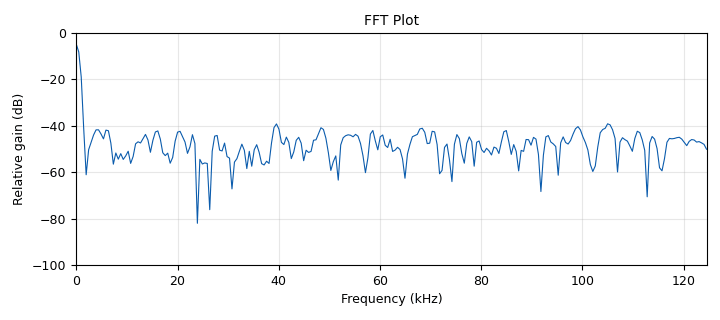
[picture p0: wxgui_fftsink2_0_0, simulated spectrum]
<?xml version='1.0' encoding='utf-8'?>
<?grc format='1' created='3.7.5'?>
<flow_graph>
<block>
<key>options</key>
<param><key>id</key><value>top_block</value></param>
<param><key>generate_options</key><value>wx_gui</value></param>
<param><key>category</key><value>Custom</value></param>
</block>
<block>
<key>variable</key>
<param><key>id</key><value>samp_rate</value></param>
<param><key>value</key><value>250e3</value></param>
</block>
<block>
<key>notebook</key>
<param><key>id</key><value>nb0</value></param>
<param><key>style</key><value>wx.NB_TOP</value></param>
<param><key>labels</key><value>['dcblock_ff processed','fastdcblock_ff processed', 'original']</value></param>
</block>
<block>
<key>wxgui_fftsink2</key>
<param><key>id</key><value>wxgui_fftsink2_0_0</value></param>
<param><key>type</key><value>float</value></param>
<param><key>title</key><value>FFT Plot</value></param>
<param><key>samp_rate</key><value>samp_rate</value></param>
<param><key>baseband_freq</key><value>0</value></param>
<param><key>y_per_div</key><value>10</value></param>
<param><key>y_divs</key><value>10</value></param>
<param><key>ref_level</key><value>0</value></param>
<param><key>ref_scale</key><value>2.0</value></param>
<param><key>fft_size</key><value>512</value></param>
<param><key>fft_rate</key><value>15</value></param>
<param><key>peak_hold</key><value>False</value></param>
<param><key>average</key><value>False</value></param>
<param><key>avg_alpha</key><value>0</value></param>
<param><key>win</key><value>None</value></param>
<param><key>notebook</key><value>nb0,2</value></param>
<param><key>freqvar</key><value>None</value></param>
</block>
<block>
<key>wxgui_fftsink2</key>
<param><key>id</key><value>wxgui_fftsink2_0</value></param>
<param><key>type</key><value>float</value></param>
<param><key>title</key><value>FFT Plot</value></param>
<param><key>samp_rate</key><value>samp_rate</value></param>
<param><key>baseband_freq</key><value>0</value></param>
<param><key>y_per_div</key><value>10</value></param>
<param><key>y_divs</key><value>10</value></param>
<param><key>ref_level</key><value>0</value></param>
<param><key>ref_scale</key><value>2.0</value></param>
<param><key>fft_size</key><value>512</value></param>
<param><key>fft_rate</key><value>15</value></param>
<param><key>peak_hold</key><value>False</value></param>
<param><key>average</key><value>False</value></param>
<param><key>avg_alpha</key><value>0</value></param>
<param><key>win</key><value>None</value></param>
<param><key>notebook</key><value>nb0,0</value></param>
<param><key>freqvar</key><value>None</value></param>
</block>
<block>
<key>wxgui_fftsink2</key>
<param><key>id</key><value>wxgui_fftsink2_0_1</value></param>
<param><key>type</key><value>float</value></param>
<param><key>title</key><value>FFT Plot</value></param>
<param><key>samp_rate</key><value>samp_rate</value></param>
<param><key>baseband_freq</key><value>0</value></param>
<param><key>y_per_div</key><value>10</value></param>
<param><key>y_divs</key><value>10</value></param>
<param><key>ref_level</key><value>0</value></param>
<param><key>ref_scale</key><value>2.0</value></param>
<param><key>fft_size</key><value>512</value></param>
<param><key>fft_rate</key><value>15</value></param>
<param><key>peak_hold</key><value>False</value></param>
<param><key>average</key><value>False</value></param>
<param><key>avg_alpha</key><value>0</value></param>
<param><key>win</key><value>None</value></param>
<param><key>notebook</key><value>nb0,1</value></param>
<param><key>freqvar</key><value>None</value></param>
</block>
<block>
<key>blocks_throttle</key>
<param><key>id</key><value>blocks_throttle_0</value></param>
<param><key>type</key><value>float</value></param>
<param><key>samples_per_second</key><value>samp_rate</value></param>
</block>
<block>
<key>ha5kfu_execproc_xx</key>
<param><key>id</key><value>ha5kfu_execproc_xx_0_0</value></param>
<param><key>type</key><value>ff</value></param>
<param><key>commandline</key><value>csdr fastdcblock_ff</value></param>
</block>
<block>
<key>ha5kfu_execproc_xx</key>
<param><key>id</key><value>ha5kfu_execproc_xx_0</value></param>
<param><key>type</key><value>ff</value></param>
<param><key>commandline</key><value>csdr dcblock_ff</value></param>
</block>
<block>
<key>blocks_add_const_vxx</key>
<param><key>id</key><value>blocks_add_const_vxx_0</value></param>
<param><key>type</key><value>float</value></param>
<param><key>const</key><value>0.8</value></param>
</block>
<block>
<key>analog_noise_source_x</key>
<param><key>id</key><value>analog_noise_source_x_0</value></param>
<param><key>type</key><value>float</value></param>
<param><key>noise_type</key><value>analog.GR_GAUSSIAN</value></param>
<param><key>amp</key><value>0.1</value></param>
<param><key>seed</key><value>0</value></param>
</block>
<connection><source_block_id>ha5kfu_execproc_xx_0</source_block_id><sink_block_id>wxgui_fftsink2_0</sink_block_id><source_key>0</source_key><sink_key>0</sink_key></connection>
<connection><source_block_id>blocks_throttle_0</source_block_id><sink_block_id>wxgui_fftsink2_0_0</sink_block_id><source_key>0</source_key><sink_key>0</sink_key></connection>
<connection><source_block_id>blocks_throttle_0</source_block_id><sink_block_id>ha5kfu_execproc_xx_0</sink_block_id><source_key>0</source_key><sink_key>0</sink_key></connection>
<connection><source_block_id>analog_noise_source_x_0</source_block_id><sink_block_id>blocks_add_const_vxx_0</sink_block_id><source_key>0</source_key><sink_key>0</sink_key></connection>
<connection><source_block_id>blocks_add_const_vxx_0</source_block_id><sink_block_id>blocks_throttle_0</sink_block_id><source_key>0</source_key><sink_key>0</sink_key></connection>
<connection><source_block_id>ha5kfu_execproc_xx_0_0</source_block_id><sink_block_id>wxgui_fftsink2_0_1</sink_block_id><source_key>0</source_key><sink_key>0</sink_key></connection>
<connection><source_block_id>blocks_throttle_0</source_block_id><sink_block_id>ha5kfu_execproc_xx_0_0</sink_block_id><source_key>0</source_key><sink_key>0</sink_key></connection>
</flow_graph>
